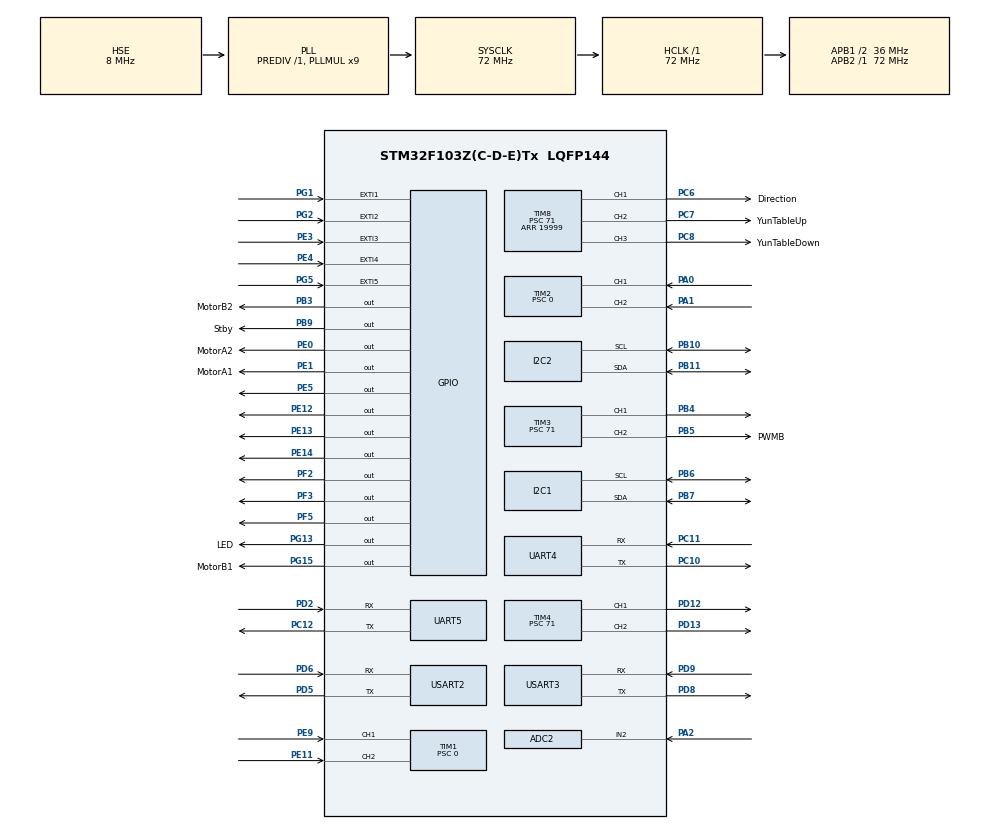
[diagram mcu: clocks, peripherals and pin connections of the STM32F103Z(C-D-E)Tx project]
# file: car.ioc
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ADC2.Channel-0\#ChannelRegularConversion=ADC_CHANNEL_2
ADC2.NbrOfConversionFlag=1
ADC2.Rank-0\#ChannelRegularConversion=1
ADC2.SamplingTime-0\#ChannelRegularConversion=ADC_SAMPLETIME_1CYCLE_5
Dma.I2C1_RX.0.Direction=DMA_PERIPH_TO_MEMORY
Dma.I2C1_RX.0.Instance=DMA1_Channel7
Dma.I2C1_RX.0.MemDataAlignment=DMA_MDATAALIGN_BYTE
Dma.I2C1_RX.0.MemInc=DMA_MINC_ENABLE
Dma.I2C1_RX.0.Mode=DMA_NORMAL
Dma.I2C1_RX.0.PeriphDataAlignment=DMA_PDATAALIGN_BYTE
Dma.I2C1_RX.0.PeriphInc=DMA_PINC_DISABLE
Dma.I2C1_RX.0.Priority=DMA_PRIORITY_LOW
Dma.I2C1_TX.1.Direction=DMA_MEMORY_TO_PERIPH
Dma.I2C1_TX.1.Instance=DMA1_Channel6
Dma.I2C1_TX.1.MemDataAlignment=DMA_MDATAALIGN_BYTE
Dma.I2C1_TX.1.MemInc=DMA_MINC_ENABLE
Dma.I2C1_TX.1.Mode=DMA_NORMAL
Dma.I2C1_TX.1.PeriphDataAlignment=DMA_PDATAALIGN_BYTE
Dma.I2C1_TX.1.PeriphInc=DMA_PINC_DISABLE
Dma.I2C1_TX.1.Priority=DMA_PRIORITY_LOW
Dma.Request0=I2C1_RX
Dma.Request1=I2C1_TX
Dma.Request2=USART3_TX
Dma.Request3=USART3_RX
Dma.Request4=UART4_RX
Dma.UART4_RX.4.Direction=DMA_PERIPH_TO_MEMORY
Dma.UART4_RX.4.Instance=DMA2_Channel3
Dma.UART4_RX.4.MemDataAlignment=DMA_MDATAALIGN_BYTE
Dma.UART4_RX.4.MemInc=DMA_MINC_ENABLE
Dma.UART4_RX.4.Mode=DMA_NORMAL
Dma.UART4_RX.4.PeriphDataAlignment=DMA_PDATAALIGN_BYTE
Dma.UART4_RX.4.PeriphInc=DMA_PINC_DISABLE
Dma.UART4_RX.4.Priority=DMA_PRIORITY_LOW
Dma.USART3_RX.3.Direction=DMA_PERIPH_TO_MEMORY
Dma.USART3_RX.3.Instance=DMA1_Channel3
Dma.USART3_RX.3.MemDataAlignment=DMA_MDATAALIGN_BYTE
Dma.USART3_RX.3.MemInc=DMA_MINC_ENABLE
Dma.USART3_RX.3.Mode=DMA_NORMAL
Dma.USART3_RX.3.PeriphDataAlignment=DMA_PDATAALIGN_BYTE
Dma.USART3_RX.3.PeriphInc=DMA_PINC_DISABLE
Dma.USART3_RX.3.Priority=DMA_PRIORITY_LOW
Dma.USART3_TX.2.Direction=DMA_MEMORY_TO_PERIPH
Dma.USART3_TX.2.Instance=DMA1_Channel2
Dma.USART3_TX.2.MemDataAlignment=DMA_MDATAALIGN_BYTE
Dma.USART3_TX.2.MemInc=DMA_MINC_ENABLE
Dma.USART3_TX.2.Mode=DMA_NORMAL
Dma.USART3_TX.2.PeriphDataAlignment=DMA_PDATAALIGN_BYTE
Dma.USART3_TX.2.PeriphInc=DMA_PINC_DISABLE
Dma.USART3_TX.2.Priority=DMA_PRIORITY_LOW
Mcu.Family=STM32F1
Mcu.Name=STM32F103Z(C-D-E)Tx
Mcu.Package=LQFP144
NVIC.DMA1_Channel2_IRQn=true\:0\:0\:false\:false\:true\:false\:true\:true
NVIC.DMA1_Channel3_IRQn=true\:0\:0\:false\:false\:true\:false\:true\:true
NVIC.DMA1_Channel6_IRQn=true\:0\:0\:false\:false\:true\:false\:true\:true
NVIC.DMA1_Channel7_IRQn=true\:0\:0\:false\:false\:true\:false\:true\:true
NVIC.DMA2_Channel3_IRQn=true\:0\:0\:false\:false\:true\:false\:true\:true
NVIC.EXTI1_IRQn=true\:2\:0\:true\:false\:true\:true\:true\:true
NVIC.EXTI2_IRQn=true\:2\:0\:true\:false\:true\:true\:true\:true
NVIC.EXTI3_IRQn=true\:2\:0\:true\:false\:true\:true\:true\:true
NVIC.EXTI4_IRQn=true\:2\:0\:true\:false\:true\:true\:true\:true
NVIC.EXTI9_5_IRQn=true\:0\:0\:false\:false\:true\:true\:true\:true
NVIC.PriorityGroup=NVIC_PRIORITYGROUP_4
NVIC.TIM1_UP_IRQn=true\:1\:0\:true\:false\:true\:true\:true\:true
NVIC.TIM2_IRQn=true\:1\:0\:true\:false\:true\:true\:true\:true
NVIC.TIM4_IRQn=true\:0\:0\:false\:false\:true\:true\:true\:true
NVIC.TIM6_IRQn=true\:0\:0\:false\:false\:true\:true\:true\:true
NVIC.TIM7_IRQn=true\:0\:0\:true\:false\:true\:true\:true\:true
NVIC.UART4_IRQn=true\:0\:0\:false\:false\:true\:true\:true\:true
NVIC.UART5_IRQn=true\:0\:0\:false\:false\:true\:true\:true\:true
NVIC.USART2_IRQn=true\:0\:0\:false\:false\:true\:true\:true\:true
NVIC.USART3_IRQn=true\:0\:0\:false\:false\:true\:true\:true\:true
OSC_IN.Mode=HSE-External-Oscillator
OSC_IN.Signal=RCC_OSC_IN
OSC_OUT.Mode=HSE-External-Oscillator
OSC_OUT.Signal=RCC_OSC_OUT
PA0-WKUP.Signal=S_TIM2_CH1_ETR
PA1.Signal=S_TIM2_CH2
PA13.Mode=Serial_Wire
PA13.Signal=SYS_JTMS-SWDIO
PA14.Mode=Serial_Wire
PA14.Signal=SYS_JTCK-SWCLK
PA2.Signal=ADCx_IN2
PB10.Mode=I2C
PB10.Signal=I2C2_SCL
PB11.Mode=I2C
PB11.Signal=I2C2_SDA
PB3.GPIO_Label=MotorB2
PB3.GPIO_PuPd=GPIO_PULLUP
PB3.Signal=GPIO_Output
PB4.Signal=S_TIM3_CH1
PB5.GPIO_Label=PWMB
PB5.Signal=S_TIM3_CH2
PB6.Mode=I2C
PB6.Signal=I2C1_SCL
PB7.Mode=I2C
PB7.Signal=I2C1_SDA
PB9.GPIO_Label=Stby
PB9.GPIO_PuPd=GPIO_PULLUP
PB9.PinState=GPIO_PIN_RESET
PB9.Signal=GPIO_Output
PC10.Mode=Asynchronous
PC10.Signal=UART4_TX
PC11.Mode=Asynchronous
PC11.Signal=UART4_RX
PC12.Mode=Asynchronous
PC12.Signal=UART5_TX
PC6.GPIO_Label=Direction
PC6.Signal=S_TIM8_CH1
PC7.GPIO_Label=YunTableUp
PC7.Signal=S_TIM8_CH2
PC8.GPIO_Label=YunTableDown
PC8.Signal=S_TIM8_CH3
PD12.Signal=S_TIM4_CH1
PD13.Signal=S_TIM4_CH2
PD2.Mode=Asynchronous
PD2.Signal=UART5_RX
PD5.Mode=Asynchronous
PD5.Signal=USART2_TX
PD6.Mode=Asynchronous
PD6.Signal=USART2_RX
PD8.Mode=Asynchronous
PD8.Signal=USART3_TX
PD9.Mode=Asynchronous
PD9.Signal=USART3_RX
PE0.GPIO_Label=MotorA2
PE0.GPIO_PuPd=GPIO_PULLUP
PE0.Signal=GPIO_Output
PE1.GPIO_Label=MotorA1
PE1.GPIO_PuPd=GPIO_PULLUP
PE1.Signal=GPIO_Output
PE11.Signal=S_TIM1_CH2
PE12.GPIO_Speed=GPIO_SPEED_FREQ_HIGH
PE12.Signal=GPIO_Output
PE13.GPIO_Speed=GPIO_SPEED_FREQ_HIGH
PE13.Signal=GPIO_Output
PE14.GPIO_Speed=GPIO_SPEED_FREQ_HIGH
PE14.Signal=GPIO_Output
PE3.GPIO_ModeDefaultEXTI=GPIO_MODE_IT_FALLING
PE3.GPIO_PuPd=GPIO_PULLUP
PE3.Signal=GPXTI3
PE4.GPIO_ModeDefaultEXTI=GPIO_MODE_IT_FALLING
PE4.GPIO_PuPd=GPIO_PULLUP
PE4.Signal=GPXTI4
PE5.Signal=GPIO_Output
PE9.Signal=S_TIM1_CH1
PF2.Signal=GPIO_Output
PF3.Signal=GPIO_Output
PF5.Signal=GPIO_Output
PG1.GPIO_ModeDefaultEXTI=GPIO_MODE_IT_FALLING
PG1.GPIO_PuPd=GPIO_PULLUP
PG1.Signal=GPXTI1
PG13.GPIO_Label=LED
PG13.GPIO_PuPd=GPIO_PULLDOWN
PG13.Signal=GPIO_Output
PG15.GPIO_Label=MotorB1
PG15.GPIO_PuPd=GPIO_PULLUP
PG15.Signal=GPIO_Output
PG2.GPIO_ModeDefaultEXTI=GPIO_MODE_IT_FALLING
PG2.GPIO_PuPd=GPIO_PULLUP
PG2.Signal=GPXTI2
PG5.GPIO_ModeDefaultEXTI=GPIO_MODE_IT_FALLING
PG5.GPIO_PuPd=GPIO_PULLUP
PG5.Signal=GPXTI5
ProjectManager.HeapSize=0x200
ProjectManager.StackSize=0x400
ProjectManager.TargetToolchain=MDK-ARM V5.32
RCC.ADCPresc=RCC_ADCPCLK2_DIV6
RCC.AHBFreq_Value=72000000
RCC.APB1CLKDivider=RCC_HCLK_DIV2
RCC.APB1Freq_Value=36000000
RCC.APB1TimFreq_Value=72000000
RCC.APB2Freq_Value=72000000
RCC.APB2TimFreq_Value=72000000
RCC.HCLKFreq_Value=72000000
RCC.PLLMUL=RCC_PLL_MUL9
RCC.PLLSourceVirtual=RCC_PLLSOURCE_HSE
RCC.SYSCLKFreq_VALUE=72000000
RCC.SYSCLKSource=RCC_SYSCLKSOURCE_PLLCLK
RCC.USBFreq_Value=72000000
SH.ADCx_IN2.0=ADC2_IN2,IN2
SH.S_TIM1_CH1.0=TIM1_CH1,Encoder_Interface
SH.S_TIM1_CH2.0=TIM1_CH2,Encoder_Interface
SH.S_TIM2_CH1_ETR.0=TIM2_CH1,Encoder_Interface
SH.S_TIM2_CH2.0=TIM2_CH2,Encoder_Interface
SH.S_TIM3_CH1.0=TIM3_CH1,PWM Generation1 CH1
SH.S_TIM3_CH2.0=TIM3_CH2,PWM Generation2 CH2
SH.S_TIM4_CH1.0=TIM4_CH1,PWM Generation1 CH1
SH.S_TIM4_CH2.0=TIM4_CH2,PWM Generation2 CH2
SH.S_TIM8_CH1.0=TIM8_CH1,PWM Generation1 CH1
SH.S_TIM8_CH2.0=TIM8_CH2,PWM Generation2 CH2
SH.S_TIM8_CH3.0=TIM8_CH3,PWM Generation3 CH3
TIM1.EncoderMode=TIM_ENCODERMODE_TI12
TIM1.Period=65535
TIM1.Prescaler=0
TIM2.EncoderMode=TIM_ENCODERMODE_TI12
TIM2.Period=65535
TIM2.Prescaler=0
TIM3.Channel-PWM\ Generation1\ CH1=TIM_CHANNEL_1
TIM3.Channel-PWM\ Generation2\ CH2=TIM_CHANNEL_2
TIM3.Period=0
TIM3.Prescaler=71
TIM4.Channel-PWM\ Generation1\ CH1=TIM_CHANNEL_1
TIM4.Channel-PWM\ Generation2\ CH2=TIM_CHANNEL_2
TIM4.Period=99
TIM4.Prescaler=71
TIM6.Period=49999
TIM6.Prescaler=71
TIM7.Period=9999
TIM7.Prescaler=71
TIM8.Channel-PWM\ Generation1\ CH1=TIM_CHANNEL_1
TIM8.Channel-PWM\ Generation2\ CH2=TIM_CHANNEL_2
TIM8.Channel-PWM\ Generation3\ CH3=TIM_CHANNEL_3
TIM8.Period=19999
TIM8.Prescaler=71
TIM8.Pulse-PWM\ Generation1\ CH1=1500
UART4.VirtualMode=Asynchronous
UART5.VirtualMode=Asynchronous
USART2.VirtualMode=VM_ASYNC
USART3.VirtualMode=VM_ASYNC
VP_TIM3_VS_ClockSourceINT.Mode=Internal
VP_TIM4_VS_ClockSourceINT.Mode=Internal
VP_TIM6_VS_ClockSourceINT.Mode=Enable_Timer
VP_TIM7_VS_ClockSourceINT.Mode=Enable_Timer
board=custom

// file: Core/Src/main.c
/* USER CODE BEGIN Header */
/**
  ******************************************************************************
  * @file           : main.c
  * @brief          : Main program body
  ******************************************************************************
  * @attention
  *
  * Copyright (c) 2025 STMicroelectronics.
  * All rights reserved.
  *
  * This software is licensed under terms that can be found in the LICENSE file
  * in the root directory of this software component.
  * If no LICENSE file comes with this software, it is provided AS-IS.
  *
  ******************************************************************************
  */
/* USER CODE END Header */
#include "main.h"
#include "adc.h"
#include "dma.h"
#include "i2c.h"
#include "tim.h"
#include "usart.h"
#include "gpio.h"

/* USER CODE BEGIN Includes */
#include "Motor.h"
#include "Encode.h"
#include "stdlib.h"
#include "stdio.h"
#include "imu.h"
#include "string.h"
#include "PID.h"
#include "Line.h"
#include "oled.h"
#include "Emm_V5.h"
#include "rect_midpoint_tracker.h"
#include "No_Mcu_Ganv_Grayscale_Sensor_Config.h"
#include "stepper_motor.h"
#include "question.h"
#include "stdio.h"
/* USER CODE END Includes */

/* USER CODE BEGIN PTD */

// 传感器数据结构

int stop_flag=0;
int question2_flag=0;
int question3_flag=0;
int question4_flag=0;
unsigned char rx_buff[256] = {0};
#define UART_BUFFER_SIZE 10
uint8_t uartBuffer[UART_BUFFER_SIZE];
int x;
int y;
int flag=0;
unsigned short Anolog[8]={0};
unsigned short white[8]={3197, 3109, 3146, 3175, 3188, 3152, 3061, 3116};
unsigned short black[8]={2231, 1474, 1284, 2044, 1720, 1074, 698, 1470};
unsigned short Normal[8];
unsigned char Digtal;
uint8_t successResponse[] = {0x01, 0xF6, 0x02, 0x6B};
uint8_t uart3RxBuffer[4];  // 用于接收UART3的返回数据
uint8_t txReady = 1;       // 发送就绪标志，1表示可以发送
int speed=10;
Line line;
int N=1;
No_MCU_Sensor sensor;
uint8_t PIDNum=0;
uint8_t ShowNum = 0;  // OLED显示模式
StepperMotor stepper_down;
StepperMotor stepper_up;

// 按键标志
uint8_t key_flag1 = 0;
uint8_t key_flag2 = 0;
uint8_t key_flag3 = 0;
uint8_t key_flag4 = 0;
uint8_t key_flag5 = 0;

// 串口接收缓冲区
#define RX_BUFFER_SIZE 128
uint8_t rx_buffer[RX_BUFFER_SIZE] = {0};
/* USER CODE END PTD */

void SystemClock_Config(void);

/* USER CODE BEGIN 0 */

/**
  * @brief  GPIO外部中断回调函数
  * @param  GPIO_Pin 触发中断的引脚
  */
void HAL_GPIO_EXTI_Callback(uint16_t GPIO_Pin)
{
	  static uint32_t last_key1_time = 0;
    static uint32_t last_key2_time = 0;
    static uint32_t last_key3_time = 0;
    static uint32_t last_key4_time = 0;
    static uint32_t last_key5_time = 0;
    const uint32_t DEBOUNCE_TIME = 200;  // 消抖时间(ms)

    // 按键1处理 (GPIO_PIN_3)
    if (GPIO_Pin == GPIO_PIN_3 && key_flag3 == 0)
    {
        // 按键消抖检查
        uint32_t now = HAL_GetTick();
        if (now - last_key3_time < DEBOUNCE_TIME) return;
        last_key3_time = now;

        key_flag3 = 1;

        key_flag3 = 0;
    }
    // 按键2处理 (GPIO_PIN_4)
    else if (GPIO_Pin == GPIO_PIN_4 && key_flag4 == 0)
    {
        // 按键消抖检查
        uint32_t now = HAL_GetTick();
        if (now - last_key4_time < DEBOUNCE_TIME) return;
        last_key4_time = now;

        key_flag4 = 1;

        key_flag4 = 0;
    }
else if (GPIO_Pin == GPIO_PIN_1 && key_flag1 == 0)
{
    uint32_t now = HAL_GetTick();
    if (now - last_key1_time < DEBOUNCE_TIME) return;

    last_key1_time = now;
//    PIDNum = (PIDNum < 2) ? PIDNum + 1 : 0; // 优化循环逻辑
				ShowNum = (ShowNum < 6) ? ShowNum + 1 : 0;

    key_flag1 = 0;
}// 按键1
else if (GPIO_Pin == GPIO_PIN_2 && key_flag2 == 0)
{
    uint32_t now = HAL_GetTick();
    if (now - last_key2_time < DEBOUNCE_TIME) return;
    // 按键2
    last_key2_time = now;

if(ShowNum==1)
{
 question2_flag=1;

}
else if (ShowNum==2)
{
 question3_flag=1;

}
else if (ShowNum==3)
{

	 question4_flag=1;
}	else if (ShowNum==0)
{
	Line_Start_flag=1;
}
//		    if (PIDNum == 0) {
//        Motor_X.Kp += 0.05; // 对应PIDNum为1时，pidValue自增0.1
//    } else if (PIDNum == 1) {
//        Motor_X.Ki += 0.01; // 对应PIDNum为2时，pidValue自增0.1
//    } else if (PIDNum == 2) {
//        Motor_X.Kd += 0.05; // 对应PIDNum为3时，pidValue自增0.1
//    }

    key_flag2 = 0;
}
	else if (GPIO_Pin == GPIO_PIN_5 && key_flag5 == 0)
	{
			// 按键3
			uint32_t now = HAL_GetTick();
			if (now - last_key5_time < DEBOUNCE_TIME) return;
			last_key5_time = now;

			key_flag5 = 1;

   N = (N + 1) % 5; // 自增并取模
    if (N == 0) {
        N = 5; // 如果N为0（即5%5的结果），则将其设置为5
    }
			key_flag5 = 0;
	}
}

/**
  * @brief  TIM周期中断回调函数
  * @param  htim TIM句柄
  */
void HAL_TIM_PeriodElapsedCallback(TIM_HandleTypeDef *htim)
{
    // 10ms中断处理
    if (htim == &htim7) {
		        // 1. 计算轮子速度
      WheelSpeed_Calculate(&wheel1);
      WheelSpeed_Calculate(&wheel2);
        // 2. 更新PID控制器
      PID_Wheel1.Actual = fabs(wheel1.wheel_speed_rpm);
      PID_Wheel2.Actual = fabs(wheel2.wheel_speed_rpm);
      PID_Update(&PID_Wheel1);
      PID_Update(&PID_Wheel2);
        // 3. 设置PWM输出
      __HAL_TIM_SetCompare(&htim4, TIM_CHANNEL_1, (uint32_t)PID_Wheel2.Out);
      __HAL_TIM_SetCompare(&htim4, TIM_CHANNEL_2, (uint32_t)PID_Wheel1.Out);

			Get_Normalize_For_User(&sensor,Normal);
			LineProgress(Normal, &line);
			PID_Line.Target=0;
			PID_Line.Actual=line.error;
			PID_Update(&PID_Line);
			if(line.position==-999)
			{
				SetMotor(0,0);
			}
			else{
				if(Line_Start_flag==1)
				{
			SetMotor(80,-PID_Line.Out);

				}
				else
				{
				SetMotor(0,0);
				}
			}

		if(rectResults.valid && YunTai_flag==1){
	    HAL_TIM_PWM_Start(&htim3, TIM_CHANNEL_1);
    HAL_TIM_PWM_Start(&htim3, TIM_CHANNEL_2);
if (Motor_X.Out > 0) {
    // 正值输出时设置为顺时针方向
    Stepper_SetDirection(&stepper_down, STEPPER_DIR_CW);
    // 使用绝对值作为速度（确保速度为正数）
    Stepper_SetSpeed(&stepper_down, Motor_X.Out);
} else if (Motor_X.Out <= 0) {
    // 负值输出时设置为逆时针方向
    Stepper_SetDirection(&stepper_down, STEPPER_DIR_CCW);
    // 使用绝对值作为速度（确保速度为正数）
    Stepper_SetSpeed(&stepper_down, -Motor_X.Out);
}

// 同样的方式处理Y轴
if (Motor_Y.Out > 0) {
    Stepper_SetDirection(&stepper_up, STEPPER_DIR_CW);
    Stepper_SetSpeed(&stepper_up, Motor_Y.Out);
} else if (Motor_Y.Out <=0) {
    Stepper_SetDirection(&stepper_up, STEPPER_DIR_CCW);
    Stepper_SetSpeed(&stepper_up, -Motor_Y.Out);
}

}

else if (stop_flag==1)
{
	HAL_TIM_PWM_Stop(&htim3, TIM_CHANNEL_1);
    HAL_TIM_PWM_Stop(&htim3, TIM_CHANNEL_2);
}

else if (stop_flag==0 && question3_flag==0)
{
	HAL_TIM_PWM_Stop(&htim3, TIM_CHANNEL_1);
    HAL_TIM_PWM_Stop(&htim3, TIM_CHANNEL_2);
}

    }
    // 50ms中断处理
    else if (htim == &htim6)
		{

//		//云台控制
		Motor_X.Target=320;
	Motor_Y.Target=240;
	// 更新实际位置
Motor_X.Actual = rectResults.x;
Motor_Y.Actual = rectResults.y;

// 执行PID计算
PID_Update(&Motor_X);
PID_Update(&Motor_Y);

// 根据PID输出自动设置步进电机方向和速度

//

    }
}

/**
  * @brief  UART接收完成回调函数
  * @param  huart UART句柄
  */
void HAL_UART_RxCpltCallback(UART_HandleTypeDef *huart)
{
    // 矩形中心
    if (huart == &huart4)
    {
flag++;
        HAL_UART_Receive_DMA(&huart4, uartBuffer, sizeof(uartBuffer));
        ParseRectMidpoints(uartBuffer, sizeof(uartBuffer), &rectResults);
    }
}

void EnterDeadLock(void) {
    // 1. 关闭所有中断（包括不可屏蔽中断以外的所有中断）
    __disable_irq();

    // 2. 关闭 systick 定时器（避免内核滴答中断）
    SysTick->CTRL &= ~SysTick_CTRL_ENABLE_Msk;

    // 3. 进入无限空循环，且不执行任何可能触发中断的操作
    while (1) {
        // 空循环，CPU持续在此处运行，不响应任何中断
        // 禁止使用任何可能触发中断的函数（如HAL_Delay依赖systick）
    }
}

/* USER CODE END 0 */

int main(void)
{

  /* USER CODE BEGIN 1 */
    // 初始化车轮结构

   Wheel_Init(&wheel1, &htim1, 28.0f, 52.0f);
   Wheel_Init(&wheel2, &htim2, 28.0f, 52.0f);

	    Stepper_Init(&stepper_down, &htim3, TIM_CHANNEL_1,
                GPIOF, GPIO_PIN_2,  // 方向引脚PA0
                3200, 72000000);    // 3200步/圈，72MHz时钟

	    Stepper_Init(&stepper_up, &htim3, TIM_CHANNEL_2,
                GPIOF, GPIO_PIN_3,  // 方向引脚PA0
                3200, 72000000);    // 3200步/圈，72MHz时钟

  /* USER CODE END 1 */

  /* MCU Configuration--------------------------------------------------------*/

  /* Reset of all peripherals, Initializes the Flash interface and the Systick. */
  HAL_Init();

  /* Configure the system clock */
  SystemClock_Config();

  /* Initialize all configured peripherals */
  MX_GPIO_Init();
  MX_DMA_Init();
  MX_TIM8_Init();
  MX_I2C2_Init();
  MX_TIM1_Init();
  MX_TIM2_Init();
  MX_TIM7_Init();
  MX_TIM4_Init();
  MX_TIM6_Init();
  MX_I2C1_Init();
  MX_ADC2_Init();
  MX_USART2_UART_Init();
  MX_USART3_UART_Init();
  MX_UART4_Init();
  MX_UART5_Init();
  MX_TIM3_Init();
  /* USER CODE BEGIN 2 */
    HAL_Delay(20);
    OLED_Init();
		//视觉接受

    HAL_UART_Receive_DMA(&huart4, uartBuffer,sizeof(uartBuffer));
    // 启动PWM和编码器
    HAL_TIM_PWM_Start(&htim4, TIM_CHANNEL_1);
    HAL_TIM_PWM_Start(&htim4, TIM_CHANNEL_2);

    HAL_TIM_Base_Start_IT(&htim1);
    HAL_TIM_Base_Start_IT(&htim2);
    HAL_TIM_Base_Start_IT(&htim6);
    HAL_TIM_Base_Start_IT(&htim7);
    HAL_TIM_Encoder_Start(&htim1, TIM_CHANNEL_ALL);
    HAL_TIM_Encoder_Start(&htim2, TIM_CHANNEL_ALL);
		HAL_GPIO_WritePin(GPIOB,GPIO_PIN_9,GPIO_PIN_SET);
    HAL_GPIO_WritePin(GPIOG,GPIO_PIN_13,GPIO_PIN_RESET);
    // yunt

    // 新增静态变量记录电机是否否已启动过
static uint8_t motor_started = 0;

			HAL_Delay(100);

	No_MCU_Ganv_Sensor_Init_Frist(&sensor);
	No_Mcu_Ganv_Sensor_Task_Without_tick(&sensor);
	Get_Anolog_Value(&sensor,Anolog);
		No_MCU_Ganv_Sensor_Init(&sensor,white,black);
			LineInit(&line, 1.2f);

  /* USER CODE END 2 */

  /* Infinite loop */
  /* USER CODE BEGIN WHILE */
  while (1)
	{
		No_Mcu_Ganv_Sensor_Task_Without_tick(&sensor);
// 替换PID部分代码，测试电机是否动作

        // OLED显示更新
        OLED_NewFrame();
        if (ShowNum == 0) {
            // 显示PID参数
            OLED_Printf(1, "question1");
					OLED_Printf(2, "val:%d",rectResults.valid);
 					OLED_Printf(3, "%.2f-%.2f-%.2f",Motor_X.Kp,Motor_X.Ki,Motor_X.Kd);
					OLED_Printf(4, "flag:%d",flag);

        }
				else if (ShowNum == 1)
				{

            OLED_Printf(1, "question2");
        }
				else if (ShowNum == 2)
				{
            OLED_Printf(1, "question3");
					OLED_Printf(2, "valid:%d",rectResults.valid);
				}
				else if (ShowNum == 3)
				{
            OLED_Printf(1, "question4");

				}
				else if (ShowNum == 4)
				{
            OLED_Printf(1, "question5");

				}
				else if (ShowNum == 5)
				{
            OLED_Printf(1, "question6");

				}
				else if (ShowNum == 6)
				{
					OLED_Printf(1, "N:%d",N);

				}

        OLED_ShowFrame();
				if (N == 1)
				{
				// N=1时，阈值 = 22
				if (wheel1.wheel_revolutions > 22)
				{
						Line_Start_flag = 0;
				}
				}
				else if (N == 2)
				{
				// N=2时，阈值 = 22 + 22 = 44
				if (wheel1.wheel_revolutions > 44)
				{
						Line_Start_flag = 0;
				}
				}
				else if (N == 3)
				{
				// N=3时，阈值 = 22 + 22*2 = 66
				if (wheel1.wheel_revolutions > 66)
				{
						Line_Start_flag = 0;
				}
				}
				else if (N == 4)
				{
				// N=4时，阈值 = 22 + 22*3 = 88
				if (wheel1.wheel_revolutions > 88)
				{
						Line_Start_flag = 0;
				}
				}
				else if (N == 5)
				{
				// N=5时，阈值 = 22 + 22*4 = 110
				if (wheel1.wheel_revolutions > 110)
				{
						Line_Start_flag = 0;
				}
				}

				if(question2_flag==1)
				{
				YunTai_flag=1;
					HAL_Delay(1000);
					        HAL_GPIO_WritePin(GPIOG,GPIO_PIN_13,GPIO_PIN_SET);
								      Stepper_SetSpeed(&stepper_down, 0);
        HAL_TIM_PWM_Stop(&htim3, TIM_CHANNEL_1);
						      Stepper_SetSpeed(&stepper_up, 0);
        HAL_TIM_PWM_Stop(&htim3, TIM_CHANNEL_2);
					EnterDeadLock();

				}
				// 新增静态变量记录电机是否否已启动过

if (question3_flag == 1)
{
    // 仅在电机未启动过时设置速度
    if (!motor_started)
    {
        HAL_TIM_PWM_Start(&htim3, TIM_CHANNEL_1);
        Stepper_SetDirection(&stepper_down, STEPPER_DIR_CW);
        Stepper_SetSpeed(&stepper_down, 10);  // 只执行一次
        motor_started = 1;  // 标记为已启动
    }

    // 检测到有效信号时停止
    if (rectResults.valid)
    {
			stop_flag=1;
        Stepper_SetSpeed(&stepper_down, 0);  // 停止电机
        YunTai_flag = 1;                     // 设置标志位
        HAL_Delay(1500);
        HAL_GPIO_WritePin(GPIOG, GPIO_PIN_13, GPIO_PIN_SET);
			      Stepper_SetSpeed(&stepper_down, 0);
        HAL_TIM_PWM_Stop(&htim3, TIM_CHANNEL_1);
						      Stepper_SetSpeed(&stepper_up, 0);
        HAL_TIM_PWM_Stop(&htim3, TIM_CHANNEL_2);

		EnterDeadLock();
        // 可选：重置状态（如果需要再次触发）
        // question3_flag = 0;
        // motor_started = 0;
    }
}
if(question4_flag==1)
{
Line_Start_flag=1;

YunTai_flag=1;
        HAL_GPIO_WritePin(GPIOG, GPIO_PIN_13, GPIO_PIN_SET);

}

    /* USER CODE END WHILE */

  }
}

void SystemClock_Config(void)
{
  RCC_OscInitTypeDef RCC_OscInitStruct = {0};
  RCC_ClkInitTypeDef RCC_ClkInitStruct = {0};
  RCC_PeriphCLKInitTypeDef PeriphClkInit = {0};

  /** Initializes the RCC Oscillators according to the specified parameters
  * in the RCC_OscInitTypeDef structure.
  */
  RCC_OscInitStruct.OscillatorType = RCC_OSCILLATORTYPE_HSE;
  RCC_OscInitStruct.HSEState = RCC_HSE_ON;
  RCC_OscInitStruct.HSEPredivValue = RCC_HSE_PREDIV_DIV1;
  RCC_OscInitStruct.HSIState = RCC_HSI_ON;
  RCC_OscInitStruct.PLL.PLLState = RCC_PLL_ON;
  RCC_OscInitStruct.PLL.PLLSource = RCC_PLLSOURCE_HSE;
  RCC_OscInitStruct.PLL.PLLMUL = RCC_PLL_MUL9;
  if (HAL_RCC_OscConfig(&RCC_OscInitStruct) != HAL_OK)
  {
    Error_Handler();
  }

  /** Initializes the CPU, AHB and APB buses clocks
  */
  RCC_ClkInitStruct.ClockType = RCC_CLOCKTYPE_HCLK|RCC_CLOCKTYPE_SYSCLK
                              |RCC_CLOCKTYPE_PCLK1|RCC_CLOCKTYPE_PCLK2;
  RCC_ClkInitStruct.SYSCLKSource = RCC_SYSCLKSOURCE_PLLCLK;
  RCC_ClkInitStruct.AHBCLKDivider = RCC_SYSCLK_DIV1;
  RCC_ClkInitStruct.APB1CLKDivider = RCC_HCLK_DIV2;
  RCC_ClkInitStruct.APB2CLKDivider = RCC_HCLK_DIV1;

  if (HAL_RCC_ClockConfig(&RCC_ClkInitStruct, FLASH_LATENCY_2) != HAL_OK)
  {
    Error_Handler();
  }
  PeriphClkInit.PeriphClockSelection = RCC_PERIPHCLK_ADC;
  PeriphClkInit.AdcClockSelection = RCC_ADCPCLK2_DIV6;
  if (HAL_RCCEx_PeriphCLKConfig(&PeriphClkInit) != HAL_OK)
  {
    Error_Handler();
  }
}

void Error_Handler(void)
{
  __disable_irq();
  while (1)
  {
  }
}
